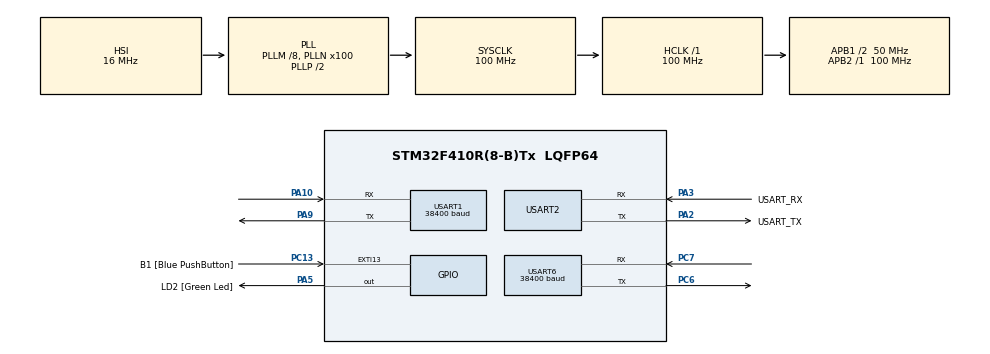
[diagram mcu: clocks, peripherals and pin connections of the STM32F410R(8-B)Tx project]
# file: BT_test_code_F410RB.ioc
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Mcu.Family=STM32F4
Mcu.Name=STM32F410R(8-B)Tx
Mcu.Package=LQFP64
NVIC.PriorityGroup=NVIC_PRIORITYGROUP_0
NVIC.USART1_IRQn=true\:0\:0\:false\:false\:true\:true\:true\:true
NVIC.USART2_IRQn=true\:0\:0\:false\:false\:true\:true\:true\:true
PA10.Mode=Asynchronous
PA10.Signal=USART1_RX
PA13.GPIO_Label=TMS
PA13.Mode=Serial_Wire
PA13.Signal=SYS_JTMS-SWDIO
PA14.GPIO_Label=TCK
PA14.Mode=Serial_Wire
PA14.Signal=SYS_JTCK-SWCLK
PA2.GPIO_Label=USART_TX
PA2.Mode=Asynchronous
PA2.Signal=USART2_TX
PA3.GPIO_Label=USART_RX
PA3.Mode=Asynchronous
PA3.Signal=USART2_RX
PA5.GPIO_Label=LD2 [Green Led]
PA5.Signal=GPIO_Output
PA9.Mode=Asynchronous
PA9.Signal=USART1_TX
PB3.GPIO_Label=SWO
PB3.Signal=SYS_JTDO-SWO
PC13-ANTI_TAMP.GPIO_Label=B1 [Blue PushButton]
PC13-ANTI_TAMP.GPIO_ModeDefaultEXTI=GPIO_MODE_IT_FALLING
PC13-ANTI_TAMP.Signal=GPXTI13
PC14-OSC32_IN.Mode=LSE-External-Oscillator
PC14-OSC32_IN.Signal=RCC_OSC32_IN
PC15-OSC32_OUT.Mode=LSE-External-Oscillator
PC15-OSC32_OUT.Signal=RCC_OSC32_OUT
PC6.Mode=Asynchronous
PC6.Signal=USART6_TX
PC7.Mode=Asynchronous
PC7.Signal=USART6_RX
PH0\ -\ OSC_IN.Mode=HSE-External-Clock-Source
PH0\ -\ OSC_IN.Signal=RCC_OSC_IN
PH1\ -\ OSC_OUT.Mode=HSE-External-Clock-Source
PH1\ -\ OSC_OUT.Signal=RCC_OSC_OUT
ProjectManager.HeapSize=0x200
ProjectManager.StackSize=0x400
ProjectManager.TargetToolchain=STM32CubeIDE
RCC.48MHZClocksFreq_Value=50000000
RCC.AHBFreq_Value=100000000
RCC.APB1CLKDivider=RCC_HCLK_DIV2
RCC.APB1Freq_Value=50000000
RCC.APB1TimFreq_Value=100000000
RCC.APB2Freq_Value=100000000
RCC.APB2TimFreq_Value=100000000
RCC.CortexFreq_Value=100000000
RCC.FLatency-AdvancedSettings=FLASH_LATENCY_3
RCC.HCLKFreq_Value=100000000
RCC.HSE_VALUE=8000000
RCC.HSI_VALUE=16000000
RCC.PLLM=8
RCC.PLLN=100
RCC.SYSCLKFreq_VALUE=100000000
RCC.SYSCLKSource=RCC_SYSCLKSOURCE_PLLCLK
RCC.VCOOutputFreq_Value=200000000
USART1.BaudRate=38400
USART1.VirtualMode=VM_ASYNC
USART2.VirtualMode=VM_ASYNC
USART6.BaudRate=38400
USART6.VirtualMode=VM_ASYNC
board=NUCLEO-F410RB

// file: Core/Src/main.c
/* USER CODE BEGIN Header */
/**
 ******************************************************************************
 * @file           : main.c
 * @brief          : Main program body
 ******************************************************************************
 * @attention
 *
 * Copyright (c) 2023 STMicroelectronics.
 * All rights reserved.
 *
 * This software is licensed under terms that can be found in the LICENSE file
 * in the root directory of this software component.
 * If no LICENSE file comes with this software, it is provided AS-IS.
 *
 ******************************************************************************
 */
/* USER CODE END Header */
#include "main.h"
#include "usart.h"
#include "gpio.h"

/* USER CODE BEGIN PD */
#define DEFAULT_STRING_SIZE 50
#define CONFIGURED_BT_MODULE &huart1
#define OTHER_BT_MODULE &huart6
#define COMPUTER_UART &huart2
/* USER CODE END PD */

/* USER CODE BEGIN PV */
uint8_t configured_module_rx;
uint8_t computer_rx;
uint8_t configuration_command[DEFAULT_STRING_SIZE];
uint8_t command_idx;
/* USER CODE END PV */

void SystemClock_Config(void);
/* USER CODE BEGIN PFP */

void HAL_UART_RxCpltCallback(UART_HandleTypeDef *huart)
{
	if(huart->Instance == USART1){
		HAL_UART_Transmit_IT(COMPUTER_UART, &configured_module_rx, 1);
		HAL_UART_Receive_IT(CONFIGURED_BT_MODULE, &configured_module_rx, 1);
	}
	if(huart->Instance == USART2){
		if(computer_rx == '\r'){
			HAL_UART_Transmit_IT(huart,(uint8_t *)"\n\r", 2);
			configuration_command[command_idx]='\r';
			command_idx++;
			configuration_command[command_idx]='\n';
			command_idx++;
			HAL_UART_Transmit(CONFIGURED_BT_MODULE, configuration_command, command_idx,HAL_MAX_DELAY);
			command_idx = 0;
		}else{
			HAL_UART_Transmit_IT(huart, &computer_rx, 1);
			configuration_command[command_idx]=computer_rx;
			command_idx++;
		}
		HAL_UART_Receive_IT(COMPUTER_UART, &computer_rx, 1);
	}
}
/* USER CODE END PFP */

int main(void)
{

	/* MCU Configuration--------------------------------------------------------*/

	/* Reset of all peripherals, Initializes the Flash interface and the Systick. */
	HAL_Init();

	/* Configure the system clock */
	SystemClock_Config();

	/* Initialize all configured peripherals */
	MX_GPIO_Init();
	MX_USART2_UART_Init();
	MX_USART1_UART_Init();
	MX_USART6_UART_Init();
	/* USER CODE BEGIN 2 */
	HAL_UART_Receive_IT(CONFIGURED_BT_MODULE, &configured_module_rx, 1);
	HAL_UART_Receive_IT(COMPUTER_UART, &computer_rx, 1);
	HAL_UART_Transmit(OTHER_BT_MODULE,(uint8_t *)"coucou\n\r", 8,HAL_MAX_DELAY);
	/* USER CODE END 2 */

	/* Infinite loop */
	while (1)
	{

	}
}

void SystemClock_Config(void)
{
	RCC_OscInitTypeDef RCC_OscInitStruct = {0};
	RCC_ClkInitTypeDef RCC_ClkInitStruct = {0};

	/** Configure the main internal regulator output voltage
	 */
	__HAL_RCC_PWR_CLK_ENABLE();
	__HAL_PWR_VOLTAGESCALING_CONFIG(PWR_REGULATOR_VOLTAGE_SCALE1);

	/** Initializes the RCC Oscillators according to the specified parameters
	 * in the RCC_OscInitTypeDef structure.
	 */
	RCC_OscInitStruct.OscillatorType = RCC_OSCILLATORTYPE_HSI;
	RCC_OscInitStruct.HSIState = RCC_HSI_ON;
	RCC_OscInitStruct.HSICalibrationValue = RCC_HSICALIBRATION_DEFAULT;
	RCC_OscInitStruct.PLL.PLLState = RCC_PLL_ON;
	RCC_OscInitStruct.PLL.PLLSource = RCC_PLLSOURCE_HSI;
	RCC_OscInitStruct.PLL.PLLM = 8;
	RCC_OscInitStruct.PLL.PLLN = 100;
	RCC_OscInitStruct.PLL.PLLP = RCC_PLLP_DIV2;
	RCC_OscInitStruct.PLL.PLLQ = 4;
	RCC_OscInitStruct.PLL.PLLR = 2;
	if (HAL_RCC_OscConfig(&RCC_OscInitStruct) != HAL_OK)
	{
		Error_Handler();
	}

	/** Initializes the CPU, AHB and APB buses clocks
	 */
	RCC_ClkInitStruct.ClockType = RCC_CLOCKTYPE_HCLK|RCC_CLOCKTYPE_SYSCLK
			|RCC_CLOCKTYPE_PCLK1|RCC_CLOCKTYPE_PCLK2;
	RCC_ClkInitStruct.SYSCLKSource = RCC_SYSCLKSOURCE_PLLCLK;
	RCC_ClkInitStruct.AHBCLKDivider = RCC_SYSCLK_DIV1;
	RCC_ClkInitStruct.APB1CLKDivider = RCC_HCLK_DIV2;
	RCC_ClkInitStruct.APB2CLKDivider = RCC_HCLK_DIV1;

	if (HAL_RCC_ClockConfig(&RCC_ClkInitStruct, FLASH_LATENCY_3) != HAL_OK)
	{
		Error_Handler();
	}
}

void Error_Handler(void)
{
	__disable_irq();
	while (1)
	{
	}
}
